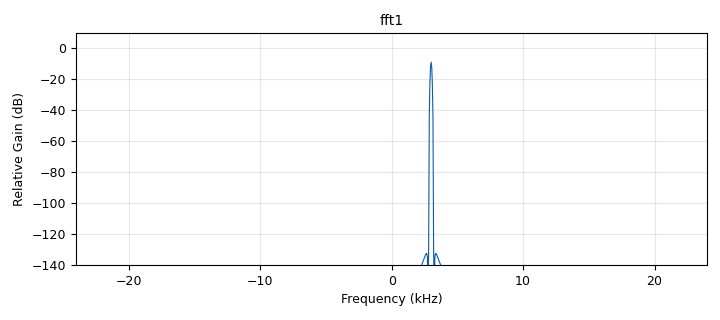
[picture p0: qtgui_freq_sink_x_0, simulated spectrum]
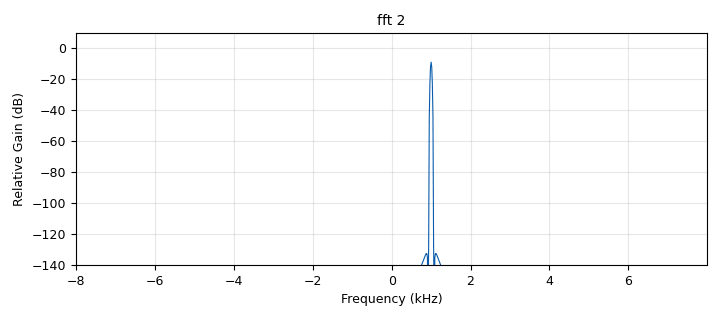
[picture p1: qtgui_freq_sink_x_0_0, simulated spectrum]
options:
  parameters:
    author: Hao Men
    copyright: hmlab.io
    generate_options: qt_gui
    id: L2_DSP
    output_language: python
  states: {}

blocks:
- name: samp_rate
  id: variable
  parameters:
    value: 18e3
  states: {state: disabled}
- name: samp_rate
  id: variable_qtgui_range
  parameters:
    start: '0'
    step: 2e3
    stop: 48e3
    value: 16e3
  states: {}
- name: samp_rate1
  id: variable
  parameters:
    value: '48000'
  states: {}
- name: analog_sig_source_x_0
  id: analog_sig_source_x
  parameters:
    amp: '1'
    freq: '1000'
    offset: '0'
    phase: '0'
    samp_rate: samp_rate
    type: complex
    waveform: analog.GR_COS_WAVE
  states: {}
- name: blocks_throttle_0
  id: blocks_throttle
  parameters:
    samples_per_second: samp_rate
    type: complex
  states: {}
- name: qtgui_freq_sink_x_0
  id: qtgui_freq_sink_x
  parameters:
    bw: samp_rate1
    fc: '0'
    fftsize: '1024'
    name: '"fft1"'
    type: complex
  states: {}
- name: qtgui_freq_sink_x_0_0
  id: qtgui_freq_sink_x
  parameters:
    bw: samp_rate
    fc: '0'
    fftsize: '1024'
    name: '"fft 2"'
    type: complex
  states: {}

connections:
- [analog_sig_source_x_0, '0', blocks_throttle_0, '0']
- [analog_sig_source_x_0, '0', qtgui_freq_sink_x_0_0, '0']
- [blocks_throttle_0, '0', qtgui_freq_sink_x_0, '0']

metadata:
  file_format: 1
